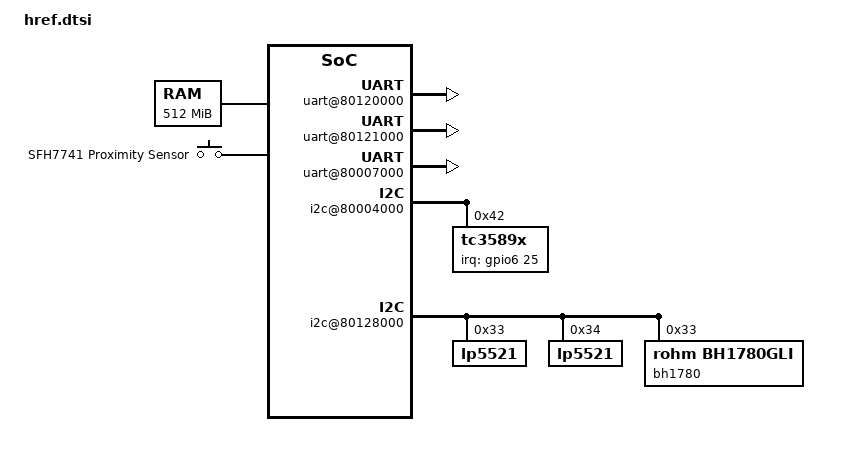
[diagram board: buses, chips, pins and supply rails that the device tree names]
/*
 * Copyright 2012 ST-Ericsson AB
 *
 * The code contained herein is licensed under the GNU General Public
 * License. You may obtain a copy of the GNU General Public License
 * Version 2 or later at the following locations:
 *
 * http://www.opensource.org/licenses/gpl-license.html
 * http://www.gnu.org/copyleft/gpl.html
 */

/include/ "dbx5x0.dtsi"

/ {
	memory {
		reg = <0x00000000 0x20000000>;
	};

	gpio_keys {
		compatible = "gpio-keys";
		#address-cells = <1>;
		#size-cells = <0>;

		button@1 {
			linux,code = <11>;
			label = "SFH7741 Proximity Sensor";
		};
	};

	soc {
		uart@80120000 {
			status = "okay";
		};

		uart@80121000 {
			status = "okay";
		};

		uart@80007000 {
			status = "okay";
		};

		i2c@80004000 {
			tc3589x@42 {
				compatible = "tc3589x";
				reg = <0x42>;
				interrupt-parent = <&gpio6>;
				interrupts = <25 0x1>;

				interrupt-controller;
				#interrupt-cells = <2>;

				tc3589x_gpio: tc3589x_gpio {
					compatible = "tc3589x-gpio";
					interrupts = <0 0x1>;

					interrupt-controller;
					#interrupt-cells = <2>;
					gpio-controller;
					#gpio-cells = <2>;
				};
			};
		};

		i2c@80128000 {
			lp5521@0x33 {
				compatible = "lp5521";
				reg = <0x33>;
			};

			lp5521@0x34 {
				compatible = "lp5521";
				reg = <0x34>;
			};

			bh1780@0x29 {
				compatible = "rohm,bh1780gli";
				reg = <0x33>;
			};
		};

		// External Micro SD slot
		sdi0_per1@80126000 {
			arm,primecell-periphid = <0x10480180>;
			max-frequency = <50000000>;
			bus-width = <4>;
			mmc-cap-sd-highspeed;
			mmc-cap-mmc-highspeed;
			vmmc-supply = <&ab8500_ldo_aux3_reg>;
			vqmmc-supply = <&vmmci>;

			cd-gpios  = <&tc3589x_gpio 3 0x4>;

			status = "okay";
		};

		// WLAN SDIO channel
		sdi1_per2@80118000 {
			arm,primecell-periphid = <0x10480180>;
			max-frequency = <50000000>;
			bus-width = <4>;

			status = "okay";
		};

		// PoP:ed eMMC
		sdi2_per3@80005000 {
			arm,primecell-periphid = <0x10480180>;
			max-frequency = <50000000>;
			bus-width = <8>;
			mmc-cap-mmc-highspeed;

			status = "okay";
		};

		// On-board eMMC
		sdi4_per2@80114000 {
			arm,primecell-periphid = <0x10480180>;
		        max-frequency = <50000000>;
			bus-width = <8>;
			mmc-cap-mmc-highspeed;
			vmmc-supply = <&ab8500_ldo_aux2_reg>;

			status = "okay";
		};

		sound {
			compatible = "stericsson,snd-soc-mop500";

			stericsson,cpu-dai = <&msp1 &msp3>;
			stericsson,audio-codec = <&codec>;
		};

		msp1: msp@80124000 {
			status = "okay";
		};

		msp3: msp@80125000 {
			status = "okay";
		};

		prcmu@80157000 {
			db8500-prcmu-regulators {
				db8500_vape_reg: db8500_vape {
					regulator-name = "db8500-vape";
				};

				db8500_varm_reg: db8500_varm {
					regulator-name = "db8500-varm";
				};

				db8500_vmodem_reg: db8500_vmodem {
					regulator-name = "db8500-vmodem";
				};

				db8500_vpll_reg: db8500_vpll {
					regulator-name = "db8500-vpll";
				};

				db8500_vsmps1_reg: db8500_vsmps1 {
					regulator-name = "db8500-vsmps1";
				};

				db8500_vsmps2_reg: db8500_vsmps2 {
					regulator-name = "db8500-vsmps2";
				};

				db8500_vsmps3_reg: db8500_vsmps3 {
					regulator-name = "db8500-vsmps3";
				};

				db8500_vrf1_reg: db8500_vrf1 {
					regulator-name = "db8500-vrf1";
				};

				db8500_sva_mmdsp_reg: db8500_sva_mmdsp {
					regulator-name = "db8500-sva-mmdsp";
				};

				db8500_sva_mmdsp_ret_reg: db8500_sva_mmdsp_ret {
					regulator-name = "db8500-sva-mmdsp-ret";
				};

				db8500_sva_pipe_reg: db8500_sva_pipe {
					regulator-name = "db8500_sva_pipe";
				};

				db8500_sia_mmdsp_reg: db8500_sia_mmdsp {
					regulator-name = "db8500_sia_mmdsp";
				};

				db8500_sia_mmdsp_ret_reg: db8500_sia_mmdsp_ret {
					regulator-name = "db8500-sia-mmdsp-ret";
				};

				db8500_sia_pipe_reg: db8500_sia_pipe {
					regulator-name = "db8500-sia-pipe";
				};

				db8500_sga_reg: db8500_sga {
					regulator-name = "db8500-sga";
				};

				db8500_b2r2_mcde_reg: db8500_b2r2_mcde {
					regulator-name = "db8500-b2r2-mcde";
				};

				db8500_esram12_reg: db8500_esram12 {
					regulator-name = "db8500-esram12";
				};

				db8500_esram12_ret_reg: db8500_esram12_ret {
					regulator-name = "db8500-esram12-ret";
				};

				db8500_esram34_reg: db8500_esram34 {
					regulator-name = "db8500-esram34";
				};

				db8500_esram34_ret_reg: db8500_esram34_ret {
					regulator-name = "db8500-esram34-ret";
				};
			};

			ab8500 {
				ab8500-regulators {
					ab8500_ldo_aux1_reg: ab8500_ldo_aux1 {
						regulator-name = "V-DISPLAY";
					};

					ab8500_ldo_aux2_reg: ab8500_ldo_aux2 {
						regulator-name = "V-eMMC1";
					};

					ab8500_ldo_aux3_reg: ab8500_ldo_aux3 {
						regulator-name = "V-MMC-SD";
					};

					ab8500_ldo_initcore_reg: ab8500_ldo_initcore {
						regulator-name = "V-INTCORE";
					};

					ab8500_ldo_tvout_reg: ab8500_ldo_tvout {
						regulator-name = "V-TVOUT";
					};

					ab8500_ldo_usb_reg: ab8500_ldo_usb {
						regulator-name = "dummy";
					};

					ab8500_ldo_audio_reg: ab8500_ldo_audio {
						regulator-name = "V-AUD";
					};

					ab8500_ldo_anamic1_reg: ab8500_ldo_anamic1 {
						regulator-name = "V-AMIC1";
					};

					ab8500_ldo_amamic2_reg: ab8500_ldo_amamic2 {
						regulator-name = "V-AMIC2";
					};

					ab8500_ldo_dmic_reg: ab8500_ldo_dmic {
						regulator-name = "V-DMIC";
					};

					ab8500_ldo_ana_reg: ab8500_ldo_ana {
						regulator-name = "V-CSI/DSI";
					};
				};
			};
		};
	};
};
